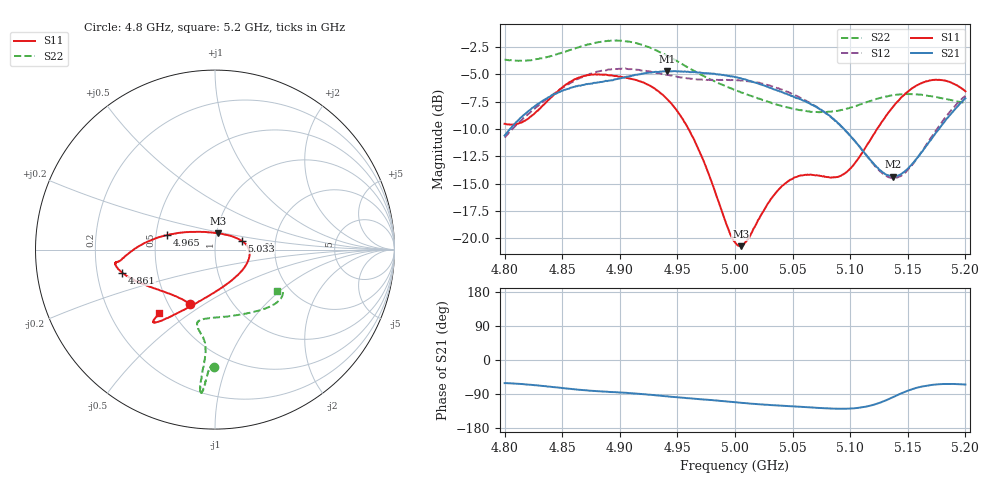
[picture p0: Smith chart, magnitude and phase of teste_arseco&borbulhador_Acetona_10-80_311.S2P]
! Network Analyzer HP8722D
! Hewlett-Packard
! Data name: Linha & Wilkinson
! Saver's name: Rodrigo Anjos
! Comments: Teste da utilização de aquisição
! continua pelo VNA HP8722D
! Time and date: 17/4/2025 16:57
!  Frequency  S11  S21  S12  S22
# HZ  S  MA R 50
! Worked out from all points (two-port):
!   401 points, 4.8 GHz to 5.2 GHz, reference 50 ohm
!   highest |S21| = -4.70 dB at 4.941 GHz (marker M1); lowest = -14.4 dB at 5.137 GHz (marker M2)
!   |S21| within 3 dB of the highest: 4.829 GHz to 5.065 GHz (236.3 MHz wide, 4.78 % of centre); 5.195124 GHz to end of sweep
!   lowest |S11| = -20.7 dB at 5.005 GHz (marker M3), VSWR 1.20, Z = 50.8 + j9.28 ohm
!   |S11| at or under -10 dB: 4.96 GHz to 5.123 GHz (163.7 MHz wide, 3.25 % of centre)
!   |S22| runs from -8.5 to -1.9 dB; largest |S21 - S12| = 0.87
!   S11 on the Smith chart (normalised r, x): 4.8 GHz: 0.64, -0.44; 4.861 GHz: 0.31, -0.11; 4.965 GHz: 0.57, +0.10; 5.033 GHz: 1.34, +0.14; 5.2 GHz: 0.42, -0.39
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4.8e9  0.3339 -114.1  0.2952 -61.1  0.289 -175.3  0.6566 -90.3
4.819e9  0.3487 -134.1  0.3752 -64.6  0.3643 -174.1  0.6505 -91.9
4.861e9  0.5341 -166.1  0.4936 -77.5  0.5269 -177.2  0.7374 -94.2
4.867e9  0.5494 -168.4  0.5017 -79.1  0.5442 -178.5  0.7565 -94.3
4.902e9  0.5459 -172.9  0.5423 -86.0  0.5973 174.4  0.8004 -95.8
4.934e9  0.468 -178.7  0.5769 -93.9  0.57 171.6  0.7127 -96.1
4.941e9  0.4335 178.2  0.582 -95.8  0.5591 171.3  0.6844 -95.9
4.965e9  0.2787 163.1  0.5763 -102.4  0.5343 173.4  0.581 -95.3
5e9  0.09586 98.1  0.5461 -111.5  0.5296 175.9  0.4767 -99.3
5.005e9  0.09204 79.7  0.5397 -112.9  0.526 175.8  0.4648 -100.4
5.012e9  0.1001 56.3  0.5251 -114.6  0.522 175.5  0.4516 -101.8
5.033e9  0.1558 18.6  0.4822 -119.1  0.4938 174.3  0.4147 -103.4
5.049e9  0.186 2.5  0.4471 -121.8  0.4586 173.8  0.3925 -99.5
5.067e9  0.195 -16.7  0.4077 -125.3  0.4112 173.4  0.3787 -90.1
5.087e9  0.19 -48.9  0.3437 -128.5  0.3439 173.7  0.3822 -74.8
5.097e9  0.201 -69.1  0.3064 -128.6  0.3068 174.8  0.3914 -66.7
5.134e9  0.3806 -117.7  0.1936 -102.4  0.1896 -155.4  0.4485 -43.0
5.137e9  0.398 -119.4  0.1915 -98.3  0.1889 -150.4  0.4513 -41.8
5.148e9  0.4599 -124.4  0.204 -83.4  0.2001 -133.5  0.4567 -37.5
5.168e9  0.5252 -129.4  0.2736 -67.1  0.2776 -113.3  0.4475 -32.6
5.184e9  0.5232 -130.9  0.3535 -63.3  0.3648 -107.6  0.4328 -31.3
5.2e9  0.4704 -131.1  0.4369 -64.8  0.4484 -106.9  0.4156 -33.6
